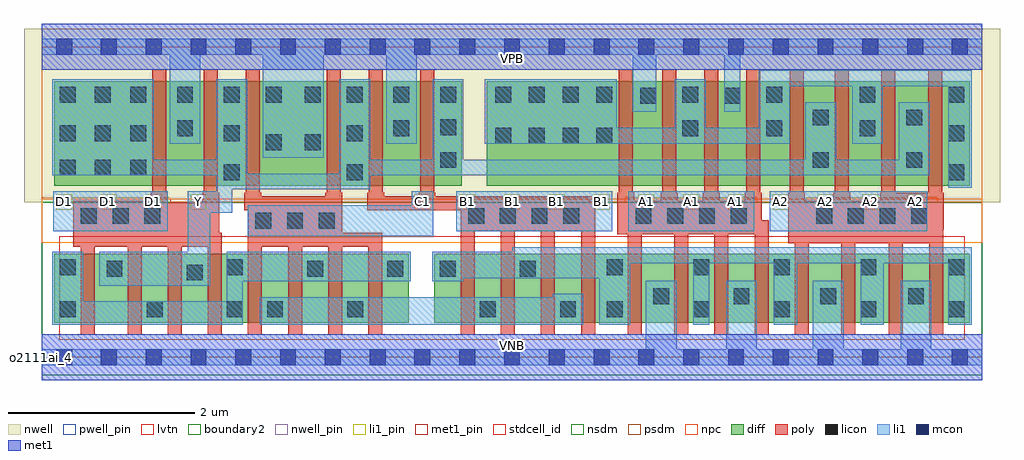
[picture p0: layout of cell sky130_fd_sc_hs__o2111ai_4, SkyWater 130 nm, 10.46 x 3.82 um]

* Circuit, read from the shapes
.subckt sky130_fd_sc_hs__o2111ai_4 A1 A2 B1 C1 D1 VGND VNB VPB VPWR Y
XM1 Y D1 n1 VNB sky130_fd_pr__nfet_01v8_lvt w=0.74 l=0.15 m=4
XM2 n2 C1 n1 VNB sky130_fd_pr__nfet_01v8_lvt w=0.74 l=0.15 m=4
XM3 n2 B1 n3 VNB sky130_fd_pr__nfet_01v8_lvt w=0.74 l=0.15 m=4
XM4 VGND A1 n3 VNB sky130_fd_pr__nfet_01v8_lvt w=0.74 l=0.15 m=4
XM5 VGND A2 n3 VNB sky130_fd_pr__nfet_01v8_lvt w=0.74 l=0.15 m=4
XM6 VPWR D1 Y VPB sky130_fd_pr__pfet_01v8 w=1.12 l=0.15 m=2
XM7 VPWR C1 Y VPB sky130_fd_pr__pfet_01v8 w=1.12 l=0.15 m=2
XM8 VPWR B1 Y VPB sky130_fd_pr__pfet_01v8 w=1.12 l=0.15 m=2
XM9 VPWR A1 n4 VPB sky130_fd_pr__pfet_01v8 w=1.12 l=0.15 m=4
XM10 Y A2 n4 VPB sky130_fd_pr__pfet_01v8 w=1.12 l=0.15 m=4
.ends

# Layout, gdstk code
import gdstk
lib = gdstk.Library(unit=1e-6, precision=1e-09)
def R(c, l, rs):  # rectangles x0, y0, x1, y1
    for r in rs: c.add(gdstk.rectangle(r[:2], r[2:], *l))
def A(c, l, x, y, w, h, nx, ny, dx, dy):  # array of equal rectangles
    R(c, l, [(x+i*dx, y+j*dy, x+i*dx+w, y+j*dy+h) for i in range(nx) for j in range(ny)])
def P(c, l, *ps):  # polygons
    for p in ps: c.add(gdstk.Polygon(p, *l))
nwell_pin = (64, 16)
nwell = (64, 20)
diff = (65, 20)
poly = (66, 20)
licon = (66, 44)
li1_pin = (67, 16)
li1 = (67, 20)
mcon = (67, 44)
met1_pin = (68, 16)
met1 = (68, 20)
stdcell_id = (81, 4)
nsdm = (93, 44)
psdm = (94, 20)
npc = (95, 20)
pwell_pin = (122, 16)
lvtn = (125, 44)
boundary2 = (236, 0)

sky130_fd_sc_hs__o2111ai = lib.new_cell('sky130_fd_sc_hs__o2111ai_4')
R(sky130_fd_sc_hs__o2111ai, nwell_pin, [(0,3.085,10.08,3.33)])
R(sky130_fd_sc_hs__o2111ai, nwell, [(-0.19,1.66,10.27,3.52)])
R(sky130_fd_sc_hs__o2111ai, diff, [(0.135,0.37,3.935,1.11), (4.205,0.37,9.945,1.11), (0.135,1.84,4.5,2.96), (4.77,1.84,9.945,2.96)])
P(sky130_fd_sc_hs__o2111ai, poly, [(7.79,1.47),(7.715,1.47),(7.715,1.765),(7.7,1.765),(7.7,3.09),(7.55,3.09),(7.55,1.765),(7.535,1.765),(7.535,1.68),(7.265,1.68),(7.265,1.765),(7.25,1.765),(7.25,3.09),(7.1,3.09),(7.1,1.765),(7.085,1.765),(7.085,1.68),(6.815,1.68),(6.815,1.765),(6.8,1.765),(6.8,3.09),(6.65,3.09),(6.65,1.765),(6.635,1.765),(6.635,1.68),(6.35,1.68),(6.35,1.765),(6.335,1.765),(6.335,3.09),(6.185,3.09),(6.185,1.765),(6.17,1.765),(6.17,1.32),(6.28,1.32),(6.28,0.24),(6.43,0.24),(6.43,1.32),(6.78,1.32),(6.78,0.24),(6.93,0.24),(6.93,1.32),(7.21,1.32),(7.21,0.24),(7.36,0.24),(7.36,1.32),(7.64,1.32),(7.64,0.24),(7.79,0.24)],
  [(9.665,1.765),(9.65,1.765),(9.65,3.09),(9.5,3.09),(9.5,1.765),(9.15,1.765),(9.15,3.09),(9,3.09),(9,1.765),(8.985,1.765),(8.985,1.68),(8.665,1.68),(8.665,1.765),(8.65,1.765),(8.65,3.09),(8.5,3.09),(8.5,1.765),(8.485,1.765),(8.485,1.68),(8.18,1.68),(8.18,1.765),(8.165,1.765),(8.165,3.09),(8.015,3.09),(8.015,1.765),(8,1.765),(8,1.225),(8.07,1.225),(8.07,0.24),(8.22,0.24),(8.22,1.225),(8.57,1.225),(8.57,0.24),(8.72,0.24),(8.72,1.225),(9.08,1.225),(9.08,0.24),(9.23,0.24),(9.23,1.225),(9.51,1.225),(9.51,0.24),(9.66,0.24),(9.66,1.375),(9.665,1.375)],
  [(1.93,1.335),(1.9,1.335),(1.9,1.765),(1.885,1.765),(1.885,3.09),(1.735,3.09),(1.735,1.765),(1.72,1.765),(1.72,1.655),(1.35,1.655),(1.35,1.765),(1.335,1.765),(1.335,3.09),(1.185,3.09),(1.185,1.765),(1.17,1.765),(1.17,1.68),(0.34,1.68),(0.34,1.185),(0.42,1.185),(0.42,0.24),(0.57,0.24),(0.57,1.185),(0.92,1.185),(0.92,0.24),(1.07,0.24),(1.07,1.185),(1.35,1.185),(1.35,0.24),(1.5,0.24),(1.5,1.185),(1.78,1.185),(1.78,0.24),(1.93,0.24)],
  [(3.65,1.335),(3.22,1.335),(3.22,1.765),(3.205,1.765),(3.205,3.09),(3.055,3.09),(3.055,1.765),(3.04,1.765),(3.04,1.725),(2.35,1.725),(2.35,1.765),(2.335,1.765),(2.335,3.09),(2.185,3.09),(2.185,1.765),(2.17,1.765),(2.17,1.575),(2.21,1.575),(2.21,0.24),(2.36,0.24),(2.36,1.185),(2.64,1.185),(2.64,0.24),(2.79,0.24),(2.79,1.185),(3.07,1.185),(3.07,0.24),(3.22,0.24),(3.22,1.185),(3.5,1.185),(3.5,0.24),(3.65,0.24)],
  [(5.93,1.725),(4.22,1.725),(4.22,1.765),(4.205,1.765),(4.205,3.09),(4.055,3.09),(4.055,1.765),(4.04,1.765),(4.04,1.725),(3.67,1.725),(3.67,1.765),(3.655,1.765),(3.655,3.09),(3.505,3.09),(3.505,1.765),(3.49,1.765),(3.49,1.575),(4.49,1.575),(4.49,0.24),(4.64,0.24),(4.64,1.35),(4.92,1.35),(4.92,0.24),(5.07,0.24),(5.07,1.35),(5.35,1.35),(5.35,0.24),(5.5,0.24),(5.5,1.35),(5.78,1.35),(5.78,0.24),(5.93,0.24)])
A(sky130_fd_sc_hs__o2111ai, licon, 2.29, 1.38, 0.17, 0.17, 3, 1, 0.34, 0)
A(sky130_fd_sc_hs__o2111ai, licon, 0.42, 1.43, 0.17, 0.17, 3, 1, 0.34, 0)
A(sky130_fd_sc_hs__o2111ai, licon, 4.57, 1.43, 0.17, 0.17, 4, 1, 0.34, 0)
A(sky130_fd_sc_hs__o2111ai, licon, 6.365, 1.43, 0.17, 0.17, 4, 1, 0.34, 0)
A(sky130_fd_sc_hs__o2111ai, licon, 8.3, 1.43, 0.17, 0.17, 4, 1, 0.34, 0)
A(sky130_fd_sc_hs__o2111ai, licon, 9.715, 1.9, 0.17, 0.17, 1, 3, 0, 0.415)
A(sky130_fd_sc_hs__o2111ai, licon, 0.95, 2.73, 0.17, 0.17, 3, 1, 0.5, 0)
A(sky130_fd_sc_hs__o2111ai, licon, 3.27, 2.73, 0.17, 0.17, 3, 1, 0.5, 0)
R(sky130_fd_sc_hs__o2111ai, licon, [(0.195,0.43,0.365,0.6), (1.125,0.43,1.295,0.6), (1.985,0.43,2.155,0.6), (2.415,0.43,2.585,0.6), (3.275,0.43,3.445,0.6), (4.695,0.43,4.865,0.6), (5.555,0.43,5.725,0.6), (6.055,0.43,6.225,0.6), (6.985,0.43,7.155,0.6), (7.845,0.43,8.015,0.6), (8.775,0.43,8.945,0.6), (9.715,0.43,9.885,0.6), (6.555,0.57,6.725,0.74), (7.415,0.57,7.585,0.74), (8.345,0.57,8.515,0.74), (9.285,0.57,9.455,0.74), (1.555,0.825,1.725,0.995), (0.695,0.865,0.865,1.035), (2.845,0.865,3.015,1.035), (3.705,0.865,3.875,1.035), (4.265,0.865,4.435,1.035), (5.125,0.865,5.295,1.035), (0.195,0.88,0.365,1.05), (1.985,0.88,2.155,1.05), (6.055,0.88,6.225,1.05), (6.985,0.88,7.155,1.05), (7.845,0.88,8.015,1.05), (8.775,0.88,8.945,1.05), (9.715,0.88,9.885,1.05), (1.95,1.9,2.12,2.07), (3.27,1.9,3.44,2.07), (0.195,1.95,0.365,2.12), (0.57,1.95,0.74,2.12), (0.95,1.95,1.12,2.12), (4.27,2.03,4.44,2.2), (8.265,2.03,8.435,2.2), (9.265,2.03,9.435,2.2), (2.4,2.22,2.57,2.39), (2.82,2.22,2.99,2.39), (4.86,2.29,5.03,2.46), (5.22,2.29,5.39,2.46), (5.585,2.29,5.755,2.46), (5.945,2.29,6.115,2.46), (0.195,2.315,0.365,2.485), (0.57,2.315,0.74,2.485), (0.95,2.315,1.12,2.485), (1.95,2.315,2.12,2.485), (3.27,2.315,3.44,2.485), (1.45,2.37,1.62,2.54), (3.77,2.37,3.94,2.54), (6.865,2.37,7.035,2.54), (7.765,2.37,7.935,2.54), (8.765,2.37,8.935,2.54), (4.27,2.38,4.44,2.55), (8.265,2.485,8.435,2.655), (9.265,2.485,9.435,2.655), (6.415,2.72,6.585,2.89), (7.315,2.72,7.485,2.89), (0.195,2.73,0.365,2.9), (0.57,2.73,0.74,2.9), (2.4,2.73,2.57,2.9), (2.82,2.73,2.99,2.9), (4.86,2.73,5.03,2.9), (5.22,2.73,5.39,2.9), (5.585,2.73,5.755,2.9), (5.945,2.73,6.115,2.9), (6.865,2.73,7.035,2.9), (7.765,2.73,7.935,2.9), (8.765,2.73,8.935,2.9)])
A(sky130_fd_sc_hs__o2111ai, li1_pin, 0.155, 1.58, 0.17, 0.17, 4, 1, 0.48, 0)
A(sky130_fd_sc_hs__o2111ai, li1_pin, 3.995, 1.58, 0.17, 0.17, 12, 1, 0.48, 0)
R(sky130_fd_sc_hs__o2111ai, li1, [(0.125,1.35,1.35,1.78), (4.445,1.35,6.115,1.78), (6.285,1.35,7.635,1.78), (7.805,1.35,9.49,1.78)])
P(sky130_fd_sc_hs__o2111ai, li1, [(0,-0.085),(0,0.085),(6.475,0.085),(6.475,0.82),(6.805,0.82),(6.805,0.085),(7.335,0.085),(7.335,0.82),(7.665,0.82),(7.665,0.085),(8.265,0.085),(8.265,0.82),(8.595,0.82),(8.595,0.085),(9.205,0.085),(9.205,0.82),(9.535,0.82),(9.535,0.085),(10.08,0.085),(10.08,-0.085)],
  [(0,3.245),(0,3.415),(10.08,3.415),(10.08,3.245),(7.485,3.245),(7.485,2.63),(7.315,2.63),(7.315,3.245),(6.585,3.245),(6.585,2.63),(6.335,2.63),(6.335,3.245),(4.02,3.245),(4.02,2.29),(3.69,2.29),(3.69,3.245),(3.02,3.245),(3.02,2.14),(2.37,2.14),(2.37,3.245),(1.7,3.245),(1.7,2.29),(1.37,2.29),(1.37,3.245)],
  [(1.565,1.13),(1.565,1.78),(1.87,1.78),(1.87,1.95),(0.115,1.95),(0.115,2.98),(1.2,2.98),(1.2,2.12),(1.87,2.12),(1.87,2.98),(2.2,2.98),(2.2,1.97),(3.19,1.97),(3.19,2.98),(3.52,2.98),(3.52,2.12),(4.19,2.12),(4.19,2.98),(4.52,2.98),(4.52,2.12),(8.185,2.12),(8.185,2.735),(8.515,2.735),(8.515,2.12),(9.185,2.12),(9.185,2.735),(9.515,2.735),(9.515,1.95),(3.52,1.95),(3.52,1.8),(2.04,1.8),(2.04,1.55),(1.805,1.55),(1.805,0.77),(0.615,0.77),(0.615,1.13)],
  [(2.21,1.3),(2.21,1.63),(3.965,1.63),(3.965,1.78),(4.195,1.78),(4.195,1.3)],
  [(9.965,3.075),(9.965,1.82),(9.715,1.82),(9.715,2.905),(9.015,2.905),(9.015,2.29),(8.685,2.29),(8.685,2.905),(8.015,2.905),(8.015,2.29),(4.75,2.29),(4.75,2.98),(6.165,2.98),(6.165,2.46),(6.785,2.46),(6.785,2.98),(7.115,2.98),(7.115,2.46),(7.685,2.46),(7.685,3.075)],
  [(9.715,1.01),(9.025,1.01),(9.025,0.35),(8.775,0.35),(8.775,1.01),(8.095,1.01),(8.095,0.35),(7.845,0.35),(7.845,1.01),(7.155,1.01),(7.155,0.35),(6.985,0.35),(6.985,1.01),(6.305,1.01),(6.305,0.35),(5.975,0.35),(5.975,0.85),(4.515,0.85),(4.515,0.815),(4.185,0.815),(4.185,1.13),(5.045,1.13),(5.045,1.18),(9.965,1.18),(9.965,0.35),(9.715,0.35)],
  [(3.955,1.13),(3.955,0.815),(2.155,0.815),(2.155,0.35),(0.115,0.35),(0.115,1.13),(0.445,1.13),(0.445,0.6),(1.985,0.6),(1.985,1.13)],
  [(2.335,0.35),(2.335,0.645),(5.475,0.645),(5.475,0.68),(5.805,0.68),(5.805,0.35)])
A(sky130_fd_sc_hs__o2111ai, mcon, 0.155, -0.085, 0.17, 0.17, 21, 2, 0.48, 3.33)
R(sky130_fd_sc_hs__o2111ai, met1_pin, [(0,0,10.08,0.245), (0,3.085,10.08,3.33)])
R(sky130_fd_sc_hs__o2111ai, met1, [(0,-0.245,10.08,0.245), (0,3.085,10.08,3.575)])
R(sky130_fd_sc_hs__o2111ai, stdcell_id, [(0,0,10.08,3.33)])
R(sky130_fd_sc_hs__o2111ai, nsdm, [(0,-0.19,10.08,1.66)])
P(sky130_fd_sc_hs__o2111ai, psdm, [(10.08,3.52),(0,3.52),(0,1.71),(1.38,1.71),(1.38,1.66),(4.46,1.66),(4.46,1.71),(5.87,1.71),(5.87,1.66),(6.255,1.66),(6.255,1.71),(7.665,1.71),(7.665,1.66),(8.19,1.66),(8.19,1.71),(9.595,1.71),(9.595,1.66),(10.08,1.66)])
R(sky130_fd_sc_hs__o2111ai, npc, [(0,1.23,10.08,1.7)])
R(sky130_fd_sc_hs__o2111ai, pwell_pin, [(0,0,10.08,0.245)])
R(sky130_fd_sc_hs__o2111ai, lvtn, [(0.19,0.19,9.89,1.3)])
R(sky130_fd_sc_hs__o2111ai, boundary2, [(0,0,10.08,3.33)])
sky130_fd_sc_hs__o2111ai.add(gdstk.Label('o2111ai_4', (0,0), layer=83, texttype=44))
sky130_fd_sc_hs__o2111ai.add(gdstk.Label('VNB', (5.04,0.123), layer=64, texttype=59))
sky130_fd_sc_hs__o2111ai.add(gdstk.Label('VPB', (5.04,3.208), layer=64, texttype=5))
sky130_fd_sc_hs__o2111ai.add(gdstk.Label('VPWR', (5.04,3.208), layer=68, texttype=5))
sky130_fd_sc_hs__o2111ai.add(gdstk.Label('VGND', (5.04,0.123), layer=68, texttype=5))
sky130_fd_sc_hs__o2111ai.add(gdstk.Label('Y', (1.68,1.665), layer=67, texttype=5))
sky130_fd_sc_hs__o2111ai.add(gdstk.Label('B1', (4.56,1.665), layer=67, texttype=5))
sky130_fd_sc_hs__o2111ai.add(gdstk.Label('B1', (5.04,1.665), layer=67, texttype=5))
sky130_fd_sc_hs__o2111ai.add(gdstk.Label('B1', (5.52,1.665), layer=67, texttype=5))
sky130_fd_sc_hs__o2111ai.add(gdstk.Label('B1', (6,1.665), layer=67, texttype=5))
sky130_fd_sc_hs__o2111ai.add(gdstk.Label('A1', (6.48,1.665), layer=67, texttype=5))
sky130_fd_sc_hs__o2111ai.add(gdstk.Label('A1', (6.96,1.665), layer=67, texttype=5))
sky130_fd_sc_hs__o2111ai.add(gdstk.Label('A1', (7.44,1.665), layer=67, texttype=5))
sky130_fd_sc_hs__o2111ai.add(gdstk.Label('A2', (7.92,1.665), layer=67, texttype=5))
sky130_fd_sc_hs__o2111ai.add(gdstk.Label('A2', (8.4,1.665), layer=67, texttype=5))
sky130_fd_sc_hs__o2111ai.add(gdstk.Label('A2', (8.88,1.665), layer=67, texttype=5))
sky130_fd_sc_hs__o2111ai.add(gdstk.Label('A2', (9.36,1.665), layer=67, texttype=5))
sky130_fd_sc_hs__o2111ai.add(gdstk.Label('C1', (4.08,1.665), layer=67, texttype=5))
sky130_fd_sc_hs__o2111ai.add(gdstk.Label('D1', (0.24,1.665), layer=67, texttype=5))
sky130_fd_sc_hs__o2111ai.add(gdstk.Label('D1', (0.72,1.665), layer=67, texttype=5))
sky130_fd_sc_hs__o2111ai.add(gdstk.Label('D1', (1.2,1.665), layer=67, texttype=5))

lib.write_gds('sky130_fd_sc_hs__o2111ai_4.gds')
